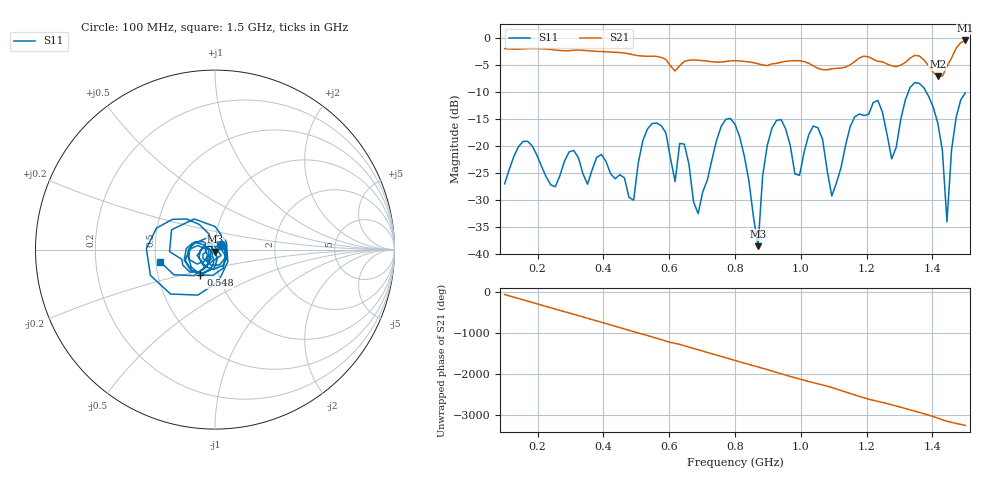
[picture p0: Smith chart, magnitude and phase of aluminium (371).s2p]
! NanoVNA-App
! Date: 2025-09-25 14:58:10
! Start: 100MHz Stop: 1,5GHz Points: 101
! S-Parameter data: F S11 S21 S12 S22
# Hz S RI R 50
!  Frequency  S11_Real  S11_Imag  S21_Real  S21_Imag  S12_Real  S12_Imag  S22_Real  S22_Imag
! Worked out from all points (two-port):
!   101 points, 100 MHz to 1.5 GHz, reference 50 ohm
!   highest |S21| = -0.41 dB at 1.5 GHz (marker M1); lowest = -7.0 dB at 1.416 GHz (marker M2)
!   |S21| within 3 dB of the highest: start of sweep to 565.5 MHz; 1.46 GHz to end of sweep (the widest 2 of 4)
!   lowest |S11| = -38.5 dB at 870 MHz (marker M3), VSWR 1.02, Z = 50.2 - j1.17 ohm
!   |S11| at or under -10 dB: start of sweep to 1.326 GHz; 1.381 GHz to end of sweep
!   S12 and S22 are empty: the file has one direction only
!   S11 on the Smith chart (normalised r, x): 100 MHz: 1.07, +0.06; 548 MHz: 0.82, -0.24; 1.5 GHz: 0.53, -0.08
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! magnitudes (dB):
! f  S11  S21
! 100 MHz  -27.0  -1.9
! 156 MHz  -19.1  -2.0
! 338 MHz  -25.1  -2.2
! 492 MHz  -30.0  -3.1
! 548 MHz  -15.8  -3.3
! 576 MHz  -16.2  -3.5
! 618 MHz  -26.5  -6.1
! 646 MHz  -19.6  -4.3
! 688 MHz  -32.5  -4.1
! 800 MHz  -15.9  -4.1
! 870 MHz  -38.5  -4.7
! 912 MHz  -16.7  -4.7
! 996 MHz  -25.4  -4.2
! 1.038 GHz  -16.2  -5.1
! 1.094 GHz  -29.2  -5.7
! 1.22 GHz  -11.9  -3.9
! 1.276 GHz  -22.3  -5.1
! 1.346 GHz  -8.2  -3.2
! 1.416 GHz  -15.7  -7.0
! 1.444 GHz  -34.0  -5.2
! 1.472 GHz  -14.6  -1.8
! 1.5 GHz  -10.1  -0.4
